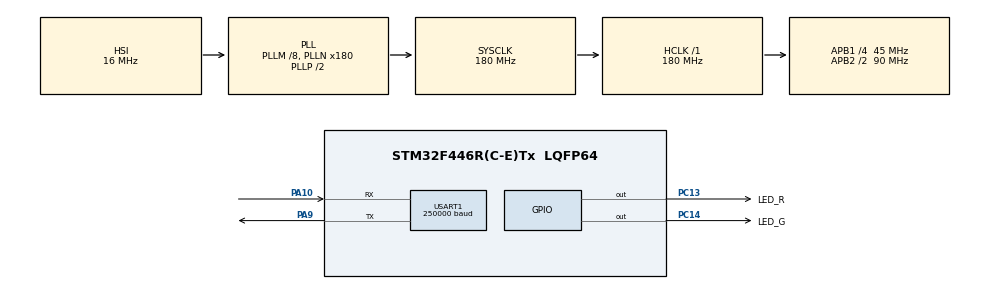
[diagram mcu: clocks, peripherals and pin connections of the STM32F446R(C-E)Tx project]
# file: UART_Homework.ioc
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Dma.Request0=USART1_RX
Dma.Request1=USART1_TX
Dma.USART1_RX.0.Direction=DMA_PERIPH_TO_MEMORY
Dma.USART1_RX.0.FIFOMode=DMA_FIFOMODE_DISABLE
Dma.USART1_RX.0.Instance=DMA2_Stream2
Dma.USART1_RX.0.MemDataAlignment=DMA_MDATAALIGN_BYTE
Dma.USART1_RX.0.MemInc=DMA_MINC_ENABLE
Dma.USART1_RX.0.Mode=DMA_NORMAL
Dma.USART1_RX.0.PeriphDataAlignment=DMA_PDATAALIGN_BYTE
Dma.USART1_RX.0.PeriphInc=DMA_PINC_DISABLE
Dma.USART1_RX.0.Priority=DMA_PRIORITY_LOW
Dma.USART1_TX.1.Direction=DMA_MEMORY_TO_PERIPH
Dma.USART1_TX.1.FIFOMode=DMA_FIFOMODE_DISABLE
Dma.USART1_TX.1.Instance=DMA2_Stream7
Dma.USART1_TX.1.MemDataAlignment=DMA_MDATAALIGN_BYTE
Dma.USART1_TX.1.MemInc=DMA_MINC_ENABLE
Dma.USART1_TX.1.Mode=DMA_NORMAL
Dma.USART1_TX.1.PeriphDataAlignment=DMA_PDATAALIGN_BYTE
Dma.USART1_TX.1.PeriphInc=DMA_PINC_DISABLE
Dma.USART1_TX.1.Priority=DMA_PRIORITY_LOW
Mcu.Family=STM32F4
Mcu.Name=STM32F446R(C-E)Tx
Mcu.Package=LQFP64
NVIC.DMA2_Stream2_IRQn=true\:0\:0\:false\:false\:true\:false\:true\:true
NVIC.DMA2_Stream7_IRQn=true\:0\:0\:false\:false\:true\:false\:true\:true
NVIC.PriorityGroup=NVIC_PRIORITYGROUP_4
NVIC.USART1_IRQn=true\:0\:0\:false\:false\:true\:true\:true\:true
PA10.Mode=Asynchronous
PA10.Signal=USART1_RX
PA13.Mode=Serial_Wire
PA13.Signal=SYS_JTMS-SWDIO
PA14.Mode=Serial_Wire
PA14.Signal=SYS_JTCK-SWCLK
PA9.Mode=Asynchronous
PA9.Signal=USART1_TX
PC13.GPIO_Label=LED_R
PC13.GPIO_ModeDefaultOutputPP=GPIO_MODE_OUTPUT_OD
PC13.GPIO_PuPd=GPIO_NOPULL
PC13.PinState=GPIO_PIN_SET
PC13.Signal=GPIO_Output
PC14-OSC32_IN.GPIO_Label=LED_G
PC14-OSC32_IN.GPIO_ModeDefaultOutputPP=GPIO_MODE_OUTPUT_OD
PC14-OSC32_IN.GPIO_PuPd=GPIO_NOPULL
PC14-OSC32_IN.PinState=GPIO_PIN_SET
PC14-OSC32_IN.Signal=GPIO_Output
PH0-OSC_IN.Mode=HSE-External-Clock-Source
PH0-OSC_IN.Signal=RCC_OSC_IN
PH1-OSC_OUT.Mode=HSE-External-Clock-Source
PH1-OSC_OUT.Signal=RCC_OSC_OUT
ProjectManager.HeapSize=0x200
ProjectManager.StackSize=0x400
ProjectManager.TargetToolchain=Makefile
RCC.AHBFreq_Value=180000000
RCC.APB1CLKDivider=RCC_HCLK_DIV4
RCC.APB1Freq_Value=45000000
RCC.APB1TimFreq_Value=90000000
RCC.APB2CLKDivider=RCC_HCLK_DIV2
RCC.APB2Freq_Value=90000000
RCC.APB2TimFreq_Value=180000000
RCC.CortexFreq_Value=180000000
RCC.HCLKFreq_Value=180000000
RCC.HSE_VALUE=8000000
RCC.PLLM=8
RCC.PLLN=180
RCC.SYSCLKFreq_VALUE=180000000
RCC.SYSCLKSource=RCC_SYSCLKSOURCE_PLLCLK
RCC.USBFreq_Value=180000000
RCC.VCOOutputFreq_Value=360000000
USART1.BaudRate=250000
USART1.VirtualMode=VM_ASYNC
board=custom

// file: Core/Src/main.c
/* USER CODE BEGIN Header */
/**
 ******************************************************************************
 * @file           : main.c
 * @brief          : Main program body
 ******************************************************************************
 * @attention
 *
 * Copyright (c) 2024 STMicroelectronics.
 * All rights reserved.
 *
 * This software is licensed under terms that can be found in the LICENSE file
 * in the root directory of this software component.
 * If no LICENSE file comes with this software, it is provided AS-IS.
 *
 ******************************************************************************
 */
/* USER CODE END Header */
#include "main.h"
#include "dma.h"
#include "gpio.h"
#include "usart.h"

/* USER CODE BEGIN Includes */

#include <stdio.h>
#include <string.h>

#include "strings.h"

/* USER CODE END Includes */

/* USER CODE BEGIN PV */

uint8_t uart_receive_buffer[UART_RECEIVE_BUFFER_SIZE];

int32_t a, b;
int64_t c;
float f;
uint32_t d;
uint8_t operation = 0;

char toStringBuffer[24];

/* USER CODE END PV */

void SystemClock_Config(void);

int main(void) {

  /* MCU Configuration--------------------------------------------------------*/

  /* Reset of all peripherals, Initializes the Flash interface and the Systick.
   */
  HAL_Init();

  /* Configure the system clock */
  SystemClock_Config();

  /* Initialize all configured peripherals */
  MX_GPIO_Init();
  MX_DMA_Init();
  MX_USART1_UART_Init();
  /* USER CODE BEGIN 2 */
  __HAL_UART_ENABLE_IT(&huart1, UART_IT_IDLE); // 使能 USART 1 空闲中断

  HAL_UART_Receive_DMA(&huart1, uart_receive_buffer, UART_RECEIVE_BUFFER_SIZE);
  HAL_UART_Transmit_DMA(&huart1, (uint8_t *)"Hello, please enter your text:\n",
                        31);

  uint16_t length;
  uint8_t output_buffer[64];

  /* USER CODE END 2 */

  /* Infinite loop */
  while (1) {
    switch (operation) {
    case '+':
    case '-':
    case '*':
      int64ToString(c, toStringBuffer);
      length = sprintf((char *)output_buffer, "%ld %c %ld = %s\n", a, operation,
                       b, toStringBuffer);
      break;
    case '/':
      floatToString(f, toStringBuffer);
      length = sprintf((char *)output_buffer, "%ld / %ld = %s\n", a, b,
                       toStringBuffer);
      break;
    case 'n':
      length = sprintf((char *)output_buffer, "%lu\n", d);
      break;
    default:
      continue;
    }

    operation = 0;
    HAL_UART_Transmit_DMA(&huart1, output_buffer, length);

  }
}

void SystemClock_Config(void) {
  RCC_OscInitTypeDef RCC_OscInitStruct = {0};
  RCC_ClkInitTypeDef RCC_ClkInitStruct = {0};

  /** Configure the main internal regulator output voltage
   */
  __HAL_RCC_PWR_CLK_ENABLE();
  __HAL_PWR_VOLTAGESCALING_CONFIG(PWR_REGULATOR_VOLTAGE_SCALE1);

  /** Initializes the RCC Oscillators according to the specified parameters
   * in the RCC_OscInitTypeDef structure.
   */
  RCC_OscInitStruct.OscillatorType = RCC_OSCILLATORTYPE_HSI;
  RCC_OscInitStruct.HSIState = RCC_HSI_ON;
  RCC_OscInitStruct.HSICalibrationValue = RCC_HSICALIBRATION_DEFAULT;
  RCC_OscInitStruct.PLL.PLLState = RCC_PLL_ON;
  RCC_OscInitStruct.PLL.PLLSource = RCC_PLLSOURCE_HSI;
  RCC_OscInitStruct.PLL.PLLM = 8;
  RCC_OscInitStruct.PLL.PLLN = 180;
  RCC_OscInitStruct.PLL.PLLP = RCC_PLLP_DIV2;
  RCC_OscInitStruct.PLL.PLLQ = 2;
  RCC_OscInitStruct.PLL.PLLR = 2;
  if (HAL_RCC_OscConfig(&RCC_OscInitStruct) != HAL_OK) {
    Error_Handler();
  }

  /** Activate the Over-Drive mode
   */
  if (HAL_PWREx_EnableOverDrive() != HAL_OK) {
    Error_Handler();
  }

  /** Initializes the CPU, AHB and APB buses clocks
   */
  RCC_ClkInitStruct.ClockType = RCC_CLOCKTYPE_HCLK | RCC_CLOCKTYPE_SYSCLK |
                                RCC_CLOCKTYPE_PCLK1 | RCC_CLOCKTYPE_PCLK2;
  RCC_ClkInitStruct.SYSCLKSource = RCC_SYSCLKSOURCE_PLLCLK;
  RCC_ClkInitStruct.AHBCLKDivider = RCC_SYSCLK_DIV1;
  RCC_ClkInitStruct.APB1CLKDivider = RCC_HCLK_DIV4;
  RCC_ClkInitStruct.APB2CLKDivider = RCC_HCLK_DIV2;

  if (HAL_RCC_ClockConfig(&RCC_ClkInitStruct, FLASH_LATENCY_5) != HAL_OK) {
    Error_Handler();
  }
}

void Error_Handler(void) {
  __disable_irq();
  while (1) {
  }
}

#ifdef USE_FULL_ASSERT
/**
 * @brief  Reports the name of the source file and the source line number
 *         where the assert_param error has occurred.
 * @param  file: pointer to the source file name
 * @param  line: assert_param error line source number
 * @retval None
 */
void assert_failed(uint8_t *file, uint32_t line) {
  /* USER CODE BEGIN 6 */
  /* User can add his own implementation to report the file name and line
     number, ex: printf("Wrong parameters value: file %s on line %d\r\n", file,
     line) */
  /* USER CODE END 6 */
}
#endif /* USE_FULL_ASSERT */
